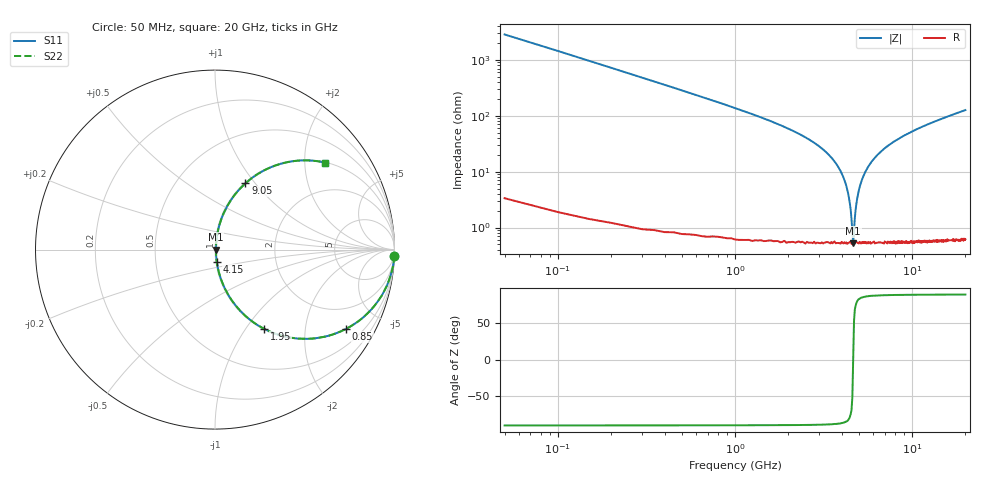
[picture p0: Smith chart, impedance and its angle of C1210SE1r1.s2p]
! AVX Thin Film Operation		Date: April 2012
! Description: Accu-P® Series, Thin Film, SMD, RF Capacitor
! Part Number: 12101J1R1PBTTR
!	100	MHz	-	20.05	GHz
!	Serial	Measurements
#	MHZ	S	MA	R	50
!	S11	S21	S12	S22
!	dB	Phase	dB	Phase	dB	Phase	dB	Phase
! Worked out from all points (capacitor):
!   400 points, 50 MHz to 20 GHz, reference 50 ohm
!   read as one part in series: C = 1.1 pF near 150 MHz
!   lowest |Z| = 520 mohm at 4.65 GHz (marker M1)
!   series resonance near 4.648 GHz, so ESL is about 1.1 nH
!   S11 on the Smith chart (normalised r, x): 50 MHz: 2, -58; 850 MHz: 1.01, -3.29; 1.95 GHz: 1.01, -1.22; 4.15 GHz: 1.01, -0.14; 9.05 GHz: 1.01, +0.89; 20 GHz: 1.01, +2.53
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50  0.999 -2.0  0.035 88.0  0.035 88.0  0.999 -2.0
100  0.998 -4.0  0.069 86.0  0.069 86.0  0.998 -4.0
150  0.995 -5.9  0.103 84.0  0.103 84.0  0.995 -5.9
300  0.979 -11.8  0.204 78.1  0.204 78.1  0.979 -11.8
500  0.943 -19.3  0.33 70.6  0.33 70.6  0.943 -19.3
850  0.853 -31.2  0.518 58.5  0.518 58.5  0.853 -31.2
1950  0.52 -58.2  0.85 31.3  0.85 31.3  0.52 -58.2
3400  0.193 -77.3  0.976 11.1  0.976 11.1  0.193 -77.3
4150  0.07 -81.6  0.992 4.0  0.992 4.0  0.07 -81.6
4350  0.041 -80.2  0.994 2.3  0.994 2.3  0.041 -80.2
4500  0.021 -73.9  0.994 1.1  0.994 1.1  0.021 -73.9
4650  0.005341 3.4  0.995 -0.0  0.995 -0.0  0.005341 3.4
4750  0.015 67.7  0.995 -0.8  0.995 -0.8  0.015 67.7
4850  0.027 77.1  0.994 -1.5  0.994 -1.5  0.027 77.1
5150  0.064 81.6  0.993 -3.6  0.993 -3.6  0.064 81.6
5750  0.132 80.1  0.986 -7.6  0.986 -7.6  0.132 80.1
6700  0.226 75.6  0.969 -13.0  0.969 -13.0  0.226 75.6
9050  0.406 65.4  0.909 -23.9  0.909 -23.9  0.406 65.4
10050  0.466 61.6  0.88 -27.8  0.88 -27.8  0.466 61.6
13350  0.616 51.6  0.783 -38.0  0.783 -38.0  0.616 51.6
16700  0.716 43.9  0.694 -45.7  0.694 -45.7  0.716 43.9
20000  0.783 38.2  0.618 -51.6  0.618 -51.6  0.783 38.2
